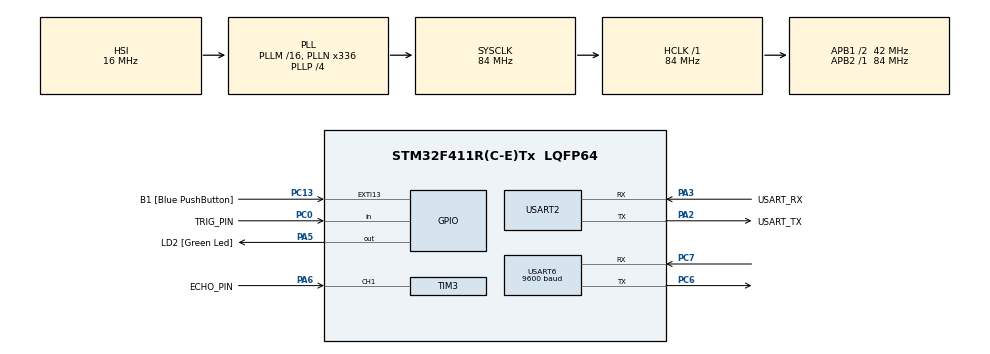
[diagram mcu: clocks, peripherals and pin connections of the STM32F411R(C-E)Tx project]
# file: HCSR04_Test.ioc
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Mcu.Family=STM32F4
Mcu.Name=STM32F411R(C-E)Tx
Mcu.Package=LQFP64
NVIC.PriorityGroup=NVIC_PRIORITYGROUP_0
NVIC.TIM3_IRQn=true\:0\:0\:false\:false\:true\:true\:true\:true
PA13.GPIO_Label=TMS
PA13.Mode=Serial_Wire
PA13.Signal=SYS_JTMS-SWDIO
PA14.GPIO_Label=TCK
PA14.Mode=Serial_Wire
PA14.Signal=SYS_JTCK-SWCLK
PA2.GPIO_Label=USART_TX
PA2.Mode=Asynchronous
PA2.Signal=USART2_TX
PA3.GPIO_Label=USART_RX
PA3.Mode=Asynchronous
PA3.Signal=USART2_RX
PA5.GPIO_Label=LD2 [Green Led]
PA5.Signal=GPIO_Output
PA6.GPIO_Label=ECHO_PIN
PA6.Signal=S_TIM3_CH1
PB3.GPIO_Label=SWO
PB3.Signal=SYS_JTDO-SWO
PC0.GPIO_Label=TRIG_PIN
PC0.Signal=GPIO_Input
PC13-ANTI_TAMP.GPIO_Label=B1 [Blue PushButton]
PC13-ANTI_TAMP.GPIO_ModeDefaultEXTI=GPIO_MODE_IT_FALLING
PC13-ANTI_TAMP.Signal=GPXTI13
PC14-OSC32_IN.Mode=LSE-External-Oscillator
PC14-OSC32_IN.Signal=RCC_OSC32_IN
PC15-OSC32_OUT.Mode=LSE-External-Oscillator
PC15-OSC32_OUT.Signal=RCC_OSC32_OUT
PC6.Mode=Asynchronous
PC6.Signal=USART6_TX
PC7.Mode=Asynchronous
PC7.Signal=USART6_RX
PH0\ -\ OSC_IN.Mode=HSE-External-Clock-Source
PH0\ -\ OSC_IN.Signal=RCC_OSC_IN
PH1\ -\ OSC_OUT.Mode=HSE-External-Clock-Source
PH1\ -\ OSC_OUT.Signal=RCC_OSC_OUT
ProjectManager.HeapSize=0x200
ProjectManager.StackSize=0x400
ProjectManager.TargetToolchain=STM32CubeIDE
RCC.48MHZClocksFreq_Value=84000000
RCC.AHBFreq_Value=84000000
RCC.APB1CLKDivider=RCC_HCLK_DIV2
RCC.APB1Freq_Value=42000000
RCC.APB1TimFreq_Value=84000000
RCC.APB2Freq_Value=84000000
RCC.APB2TimFreq_Value=84000000
RCC.CortexFreq_Value=84000000
RCC.FLatency-AdvancedSettings=FLASH_LATENCY_2
RCC.HCLKFreq_Value=84000000
RCC.HSE_VALUE=8000000
RCC.HSI_VALUE=16000000
RCC.PLLN=336
RCC.PLLP=RCC_PLLP_DIV4
RCC.SYSCLKFreq_VALUE=84000000
RCC.SYSCLKSource=RCC_SYSCLKSOURCE_PLLCLK
RCC.VCOOutputFreq_Value=336000000
SH.S_TIM3_CH1.0=TIM3_CH1,Input_Capture1_from_TI1
TIM3.Channel-Input_Capture1_from_TI1=TIM_CHANNEL_1
TIM3.ICPolarity_CH1=TIM_INPUTCHANNELPOLARITY_BOTHEDGE
TIM3.Period=65536-1
TIM3.Prescaler=16-1
USART2.VirtualMode=VM_ASYNC
USART6.BaudRate=9600
USART6.VirtualMode=VM_ASYNC
VP_TIM3_VS_ClockSourceINT.Mode=Internal
board=NUCLEO-F411RE

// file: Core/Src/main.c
/* USER CODE BEGIN Header */
/**
  ******************************************************************************
  * @file           : main.c
  * @brief          : Main program body
  ******************************************************************************
  * @attention
  *
  * Copyright (c) 2024 STMicroelectronics.
  * All rights reserved.
  *
  * This software is licensed under terms that can be found in the LICENSE file
  * in the root directory of this software component.
  * If no LICENSE file comes with this software, it is provided AS-IS.
  *
  ******************************************************************************
  */
/* USER CODE END Header */
#include "main.h"

TIM_HandleTypeDef htim3;

UART_HandleTypeDef huart2;
UART_HandleTypeDef huart6;

void SystemClock_Config(void);
static void MX_GPIO_Init(void);
static void MX_USART2_UART_Init(void);
static void MX_TIM3_Init(void);
static void MX_USART6_UART_Init(void);

/* USER CODE BEGIN 0 */
volatile uint8_t hcsr04_Rx_flag = 0;
volatile uint32_t first_edge = 0;
volatile uint32_t time_edge1 = 0;
volatile uint32_t time_edge2 = 0;
/* USER CODE END 0 */

int main(void)
{
	char txd_message_buffer[64];

  /* USER CODE BEGIN 1 */
	void HCSR04_TRIG_PULSE(void){
		HAL_GPIO_WritePin(GPIOC, TRIG_PIN_Pin, GPIO_PIN_SET);
		for(int j=0; j!=48; j= j+1){};
		HAL_GPIO_WritePin(GPIOC, TRIG_PIN_Pin, GPIO_PIN_RESET);
		HAL_Delay(30);
	}

  /* USER CODE END 1 */

  /* MCU Configuration--------------------------------------------------------*/

  /* Reset of all peripherals, Initializes the Flash interface and the Systick. */
  HAL_Init();

  /* Configure the system clock */
  SystemClock_Config();

  /* Initialize all configured peripherals */
  MX_GPIO_Init();
  MX_USART2_UART_Init();
  MX_TIM3_Init();
  MX_USART6_UART_Init();
  /* USER CODE BEGIN 2 */
  HAL_TIM_Base_Init(&htim3);
  HAL_TIM_Base_Start(&htim3);
  HAL_TIM_IC_Start_IT(&htim3, TIM_CHANNEL_1);
  /* USER CODE END 2 */

  /* Infinite loop */
  /* USER CODE BEGIN WHILE */
  HCSR04_TRIG_PULSE();
  while (1)
  {
	  hcsr04_Rx_flag = 0;
	  first_edge = 0;
	  time_edge1 = 0;
	  time_edge2 = 0;
	  time_diff = 0;
	  distance = 0;

	  HCSR04_TRIG_PULSE();

	  while(hcsr04_Rx_flag == 0){};
	  time_diff = time_edge2-time_edge1;
	  distance = (int)(((float)time_diff)/304);
	  sprintf((char*)txd_message_buffer, "PULSE WIDTH is: %d \r\n", time_diff);
	  HAL_UART_Transmit(&huart6, txd_message_buffer, strlen((char*)txd_message_buffer), 1000);

	  sprintf((char*)txd_message_buffer, "Distance is: %d \r\n", distance);
	  HAL_UART_Transmit(&huart6, txd_message_buffer, strlen((char*)txd_message_buffer), 1000);
    /* USER CODE END WHILE */

  }
}

void SystemClock_Config(void)
{
  RCC_OscInitTypeDef RCC_OscInitStruct = {0};
  RCC_ClkInitTypeDef RCC_ClkInitStruct = {0};

  /** Configure the main internal regulator output voltage
  */
  __HAL_RCC_PWR_CLK_ENABLE();
  __HAL_PWR_VOLTAGESCALING_CONFIG(PWR_REGULATOR_VOLTAGE_SCALE1);

  /** Initializes the RCC Oscillators according to the specified parameters
  * in the RCC_OscInitTypeDef structure.
  */
  RCC_OscInitStruct.OscillatorType = RCC_OSCILLATORTYPE_HSI;
  RCC_OscInitStruct.HSIState = RCC_HSI_ON;
  RCC_OscInitStruct.HSICalibrationValue = RCC_HSICALIBRATION_DEFAULT;
  RCC_OscInitStruct.PLL.PLLState = RCC_PLL_ON;
  RCC_OscInitStruct.PLL.PLLSource = RCC_PLLSOURCE_HSI;
  RCC_OscInitStruct.PLL.PLLM = 16;
  RCC_OscInitStruct.PLL.PLLN = 336;
  RCC_OscInitStruct.PLL.PLLP = RCC_PLLP_DIV4;
  RCC_OscInitStruct.PLL.PLLQ = 4;
  if (HAL_RCC_OscConfig(&RCC_OscInitStruct) != HAL_OK)
  {
    Error_Handler();
  }

  /** Initializes the CPU, AHB and APB buses clocks
  */
  RCC_ClkInitStruct.ClockType = RCC_CLOCKTYPE_HCLK|RCC_CLOCKTYPE_SYSCLK
                              |RCC_CLOCKTYPE_PCLK1|RCC_CLOCKTYPE_PCLK2;
  RCC_ClkInitStruct.SYSCLKSource = RCC_SYSCLKSOURCE_PLLCLK;
  RCC_ClkInitStruct.AHBCLKDivider = RCC_SYSCLK_DIV1;
  RCC_ClkInitStruct.APB1CLKDivider = RCC_HCLK_DIV2;
  RCC_ClkInitStruct.APB2CLKDivider = RCC_HCLK_DIV1;

  if (HAL_RCC_ClockConfig(&RCC_ClkInitStruct, FLASH_LATENCY_2) != HAL_OK)
  {
    Error_Handler();
  }
}

static void MX_TIM3_Init(void)
{

  TIM_ClockConfigTypeDef sClockSourceConfig = {0};
  TIM_MasterConfigTypeDef sMasterConfig = {0};
  TIM_IC_InitTypeDef sConfigIC = {0};

  htim3.Instance = TIM3;
  htim3.Init.Prescaler = 16-1;
  htim3.Init.CounterMode = TIM_COUNTERMODE_UP;
  htim3.Init.Period = 65536-1;
  htim3.Init.ClockDivision = TIM_CLOCKDIVISION_DIV1;
  htim3.Init.AutoReloadPreload = TIM_AUTORELOAD_PRELOAD_DISABLE;
  if (HAL_TIM_Base_Init(&htim3) != HAL_OK)
  {
    Error_Handler();
  }
  sClockSourceConfig.ClockSource = TIM_CLOCKSOURCE_INTERNAL;
  if (HAL_TIM_ConfigClockSource(&htim3, &sClockSourceConfig) != HAL_OK)
  {
    Error_Handler();
  }
  if (HAL_TIM_IC_Init(&htim3) != HAL_OK)
  {
    Error_Handler();
  }
  sMasterConfig.MasterOutputTrigger = TIM_TRGO_RESET;
  sMasterConfig.MasterSlaveMode = TIM_MASTERSLAVEMODE_DISABLE;
  if (HAL_TIMEx_MasterConfigSynchronization(&htim3, &sMasterConfig) != HAL_OK)
  {
    Error_Handler();
  }
  sConfigIC.ICPolarity = TIM_INPUTCHANNELPOLARITY_BOTHEDGE;
  sConfigIC.ICSelection = TIM_ICSELECTION_DIRECTTI;
  sConfigIC.ICPrescaler = TIM_ICPSC_DIV1;
  sConfigIC.ICFilter = 0;
  if (HAL_TIM_IC_ConfigChannel(&htim3, &sConfigIC, TIM_CHANNEL_1) != HAL_OK)
  {
    Error_Handler();
  }

}

static void MX_USART2_UART_Init(void)
{

  huart2.Instance = USART2;
  huart2.Init.BaudRate = 115200;
  huart2.Init.WordLength = UART_WORDLENGTH_8B;
  huart2.Init.StopBits = UART_STOPBITS_1;
  huart2.Init.Parity = UART_PARITY_NONE;
  huart2.Init.Mode = UART_MODE_TX_RX;
  huart2.Init.HwFlowCtl = UART_HWCONTROL_NONE;
  huart2.Init.OverSampling = UART_OVERSAMPLING_16;
  if (HAL_UART_Init(&huart2) != HAL_OK)
  {
    Error_Handler();
  }

}

static void MX_USART6_UART_Init(void)
{

  huart6.Instance = USART6;
  huart6.Init.BaudRate = 9600;
  huart6.Init.WordLength = UART_WORDLENGTH_8B;
  huart6.Init.StopBits = UART_STOPBITS_1;
  huart6.Init.Parity = UART_PARITY_NONE;
  huart6.Init.Mode = UART_MODE_TX_RX;
  huart6.Init.HwFlowCtl = UART_HWCONTROL_NONE;
  huart6.Init.OverSampling = UART_OVERSAMPLING_16;
  if (HAL_UART_Init(&huart6) != HAL_OK)
  {
    Error_Handler();
  }

}

static void MX_GPIO_Init(void)
{
  GPIO_InitTypeDef GPIO_InitStruct = {0};

  /* GPIO Ports Clock Enable */
  __HAL_RCC_GPIOC_CLK_ENABLE();
  __HAL_RCC_GPIOH_CLK_ENABLE();
  __HAL_RCC_GPIOA_CLK_ENABLE();
  __HAL_RCC_GPIOB_CLK_ENABLE();

  /*Configure GPIO pin Output Level */
  HAL_GPIO_WritePin(LD2_GPIO_Port, LD2_Pin, GPIO_PIN_RESET);

  /*Configure GPIO pin : B1_Pin */
  GPIO_InitStruct.Pin = B1_Pin;
  GPIO_InitStruct.Mode = GPIO_MODE_IT_FALLING;
  GPIO_InitStruct.Pull = GPIO_NOPULL;
  HAL_GPIO_Init(B1_GPIO_Port, &GPIO_InitStruct);

  /*Configure GPIO pin : TRIG_PIN_Pin */
  GPIO_InitStruct.Pin = TRIG_PIN_Pin;
  GPIO_InitStruct.Mode = GPIO_MODE_INPUT;
  GPIO_InitStruct.Pull = GPIO_NOPULL;
  HAL_GPIO_Init(TRIG_PIN_GPIO_Port, &GPIO_InitStruct);

  /*Configure GPIO pin : LD2_Pin */
  GPIO_InitStruct.Pin = LD2_Pin;
  GPIO_InitStruct.Mode = GPIO_MODE_OUTPUT_PP;
  GPIO_InitStruct.Pull = GPIO_NOPULL;
  GPIO_InitStruct.Speed = GPIO_SPEED_FREQ_LOW;
  HAL_GPIO_Init(LD2_GPIO_Port, &GPIO_InitStruct);

}

/* USER CODE BEGIN 4 */
void HAL_TIM_IC_CaptureCallback(TIM_HandleTypeDef *htim){
	if (htim->Instance == TIM3){
		if (htim->Channel == 1){
			if (first_edge == 0){
				time_edge1 = HAL_TIM_ReadCapturedValue(htim, TIM_CHANNEL_1);
				first_edge = 1;
			} else {
				time_edge2 = HAL_TIM_ReadCapturedValue(htim, TIM_CHANNEL_1);
				__HAL_TIM_SET_COUNTER(htim, 0);
				hcsr04_Rx_flag = 1;
			}
		}
	}
}
/* USER CODE END 4 */

void Error_Handler(void)
{
  __disable_irq();
  while (1)
  {
  }
}
